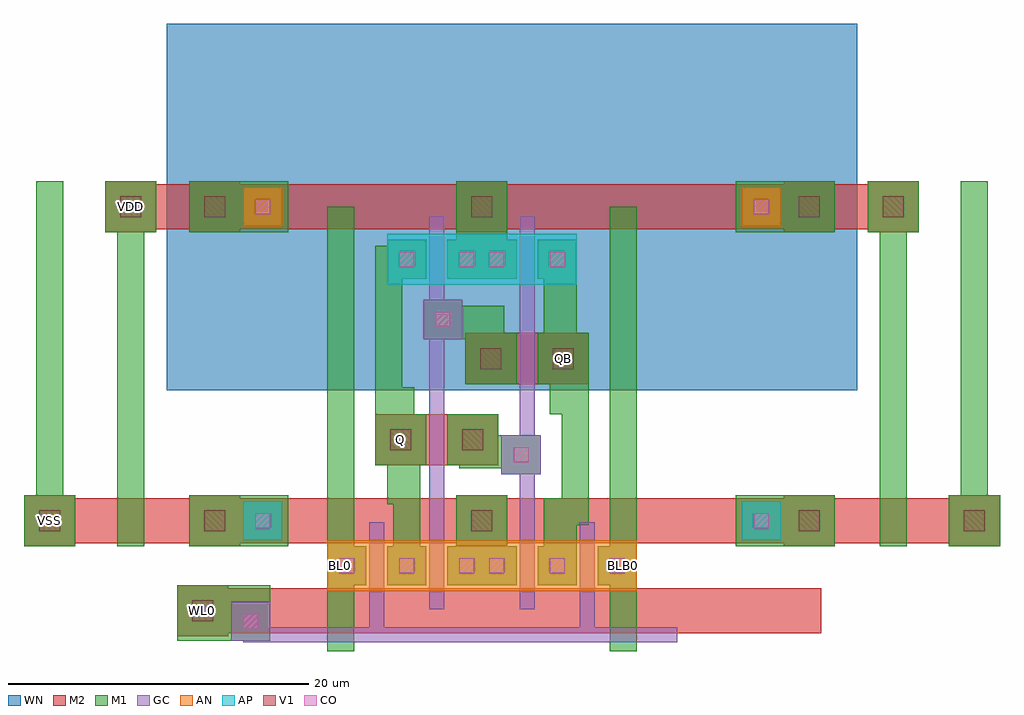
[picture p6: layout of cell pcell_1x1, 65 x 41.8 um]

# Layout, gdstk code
import gdstk
lib = gdstk.Library(unit=1e-6, precision=5e-08)
def R(c, l, rs):  # rectangles x0, y0, x1, y1
    for r in rs: c.add(gdstk.rectangle(r[:2], r[2:], *l))
AP = (3, 1)
AN = (3, 2)
GC = (8, 1)
CO = (11, 0)
M1 = (13, 0)
V1 = (19, 0)
M2 = (20, 0)
WN = (140, 0)

fet_n = lib.new_cell('fet_n')
R(fet_n, AN, [(-3.3,-1.7,3.3,1.7)])
R(fet_n, CO, [(-2.5,-0.5,-1.5,0.5), (1.5,-0.5,2.5,0.5)])
R(fet_n, M1, [(-3.3,-1.3,-0.7,1.3), (0.7,-1.3,3.3,1.3)])
fet_n.add(gdstk.FlexPath([(0,-2.9),(0,2.9)], 1, ends="flush", simple_path=True, layer=8, datatype=1))  # GC

fet_p = lib.new_cell('fet_p')
R(fet_p, AP, [(-3.3,-1.7,3.3,1.7)])
R(fet_p, CO, [(-2.5,-0.5,-1.5,0.5), (1.5,-0.5,2.5,0.5)])
R(fet_p, M1, [(-3.3,-1.3,-0.7,1.3), (0.7,-1.3,3.3,1.3)])
fet_p.add(gdstk.FlexPath([(0,-2.9),(0,2.9)], 1, ends="flush", simple_path=True, layer=8, datatype=1))  # GC

via_1 = lib.new_cell('via_1')
R(via_1, M1, [(-1.7,-1.7,1.7,1.7)])
R(via_1, V1, [(-0.7,-0.7,0.7,0.7)])
R(via_1, M2, [(-1.7,-1.7,1.7,1.7)])

cont_g = lib.new_cell('cont_g')
R(cont_g, GC, [(-1.3,-1.3,1.3,1.3)])
R(cont_g, CO, [(-0.5,-0.5,0.5,0.5)])
R(cont_g, M1, [(-1.3,-1.3,1.3,1.3)])

pcell_core = lib.new_cell('pcell_core')
R(pcell_core, GC, [(0,-5.1,22,-4.1), (1.5,-5.1,2.5,-2.4), (15.5,-5.1,16.5,-2.4), (5.5,2.4,6.5,18), (11.5,2.4,12.5,18), (11.1,6.9,12.5,7.9), (5.5,15.9,6.9,16.9)])
R(pcell_core, M1, [(-1.3,-5.7,0.5,23.9), (17.5,-5.7,19.3,23.9), (3.1,-0.9,4.9,5.9), (8.1,-0.9,9.9,3.9), (13.1,-0.9,14.9,4.5), (14.9,1.3,15.3,2.7), (13.1,2.7,16.1,4.5), (14.3,2.7,16.1,11.9), (2.7,4.1,4.9,5.9), (2.7,4.1,4.5,11.9), (4.5,5.9,4.9,6.7), (7.5,6.5,9.3,9.3), (7.5,6.5,12.5,8.3), (10.1,8.3,10.3,8.7), (1.9,10.1,4.5,11.9), (1.9,10.1,3.7,21.3), (13.5,10.1,16.1,11.9), (13.5,10.1,15.3,18.7), (15.3,11.9,16.1,12.1), (8.7,12.9,10.5,17.3), (7.7,15.1,7.9,15.5), (5.5,15.5,10.5,17.3), (13.1,15.5,13.5,16.9), (13.1,16.9,15.3,18.7), (13.1,16.9,14.9,21.3), (14.9,18.7,15.3,19.1), (1.9,19.5,4.9,21.3), (8.1,19.5,9.9,24.8), (7.3,21.7,8.1,22.2), (9.9,21.7,10.7,22.2)])
R(pcell_core, M2, [(0,-4.5,22,-1.5), (0,1.5,22,4.5), (1.9,6.7,10.1,10.1), (7.9,12.1,16.1,15.5), (0,22.4,22,25.4)])
R(pcell_core, WN, [(-3.5,11.7,25.5,29.1)])
pcell_core.add(gdstk.Reference(fet_n, (2,0)))
pcell_core.add(gdstk.Reference(fet_n, (6,0)))
pcell_core.add(gdstk.Reference(fet_n, (12,0)))
pcell_core.add(gdstk.Reference(fet_n, (16,0)))
pcell_core.add(gdstk.Reference(fet_p, (6,20.4)))
pcell_core.add(gdstk.Reference(fet_p, (12,20.4)))
pcell_core.add(gdstk.Reference(via_1, (9,3)))
pcell_core.add(gdstk.Reference(via_1, (9,23.9)))
pcell_core.add(gdstk.Reference(via_1, (3.6,8.4)))
pcell_core.add(gdstk.Reference(via_1, (8.4,8.4)))
pcell_core.add(gdstk.Reference(cont_g, (11.6,7.4)))
pcell_core.add(gdstk.Reference(via_1, (14.4,13.8)))
pcell_core.add(gdstk.Reference(via_1, (9.6,13.8)))
pcell_core.add(gdstk.Reference(cont_g, (6.4,16.4)))

cont_n = lib.new_cell('cont_n')
R(cont_n, AN, [(-1.3,-1.3,1.3,1.3)])
R(cont_n, CO, [(-0.5,-0.5,0.5,0.5)])
R(cont_n, M1, [(-1.3,-1.3,1.3,1.3)])

cont_p = lib.new_cell('cont_p')
R(cont_p, AP, [(-1.3,-1.3,1.3,1.3)])
R(cont_p, CO, [(-0.5,-0.5,0.5,0.5)])
R(cont_p, M1, [(-1.3,-1.3,1.3,1.3)])

pcell_1x1 = lib.new_cell('pcell_1x1')
R(pcell_1x1, GC, [(-6.9,0.6,-5.9,2.5), (-6.4,0.6,0,1.6)])
R(pcell_1x1, M1, [(-11.3,0.7,-5.1,4.4), (-20.7,7,-18.9,31.3), (-15.3,7,-13.5,31.3), (-10.5,7,-3.9,10.4), (25.9,7,32.5,10.4), (35.5,7,37.3,31.3), (40.9,7,42.7,31.3), (-10.5,27.9,-3.9,31.3), (25.9,27.9,32.5,31.3)])
R(pcell_1x1, M2, [(-9.6,1.2,31.6,4.2), (-21.5,7.2,23.7,10.2), (-1.7,7.2,43.5,10.2), (-16.1,28.1,23.7,31.1), (-1.7,28.1,38.1,31.1)])
R(pcell_1x1, WN, [(-12,17.4,34,41.8), (0,17.4,34,41.8)])
pcell_1x1.add(gdstk.Reference(pcell_core, (0,5.7)))
pcell_1x1.add(gdstk.Reference(cont_g, (-6.4,2)))
pcell_1x1.add(gdstk.Reference(via_1, (-9.6,2.7)))
pcell_1x1.add(gdstk.Reference(cont_n, (-5.6,29.6)))
pcell_1x1.add(gdstk.Reference(via_1, (-8.8,29.6)))
pcell_1x1.add(gdstk.Reference(via_1, (-14.4,29.6)))
pcell_1x1.add(gdstk.Reference(cont_p, (-5.6,8.7)))
pcell_1x1.add(gdstk.Reference(via_1, (-8.8,8.7)))
pcell_1x1.add(gdstk.Reference(via_1, (-19.8,8.7)))
pcell_1x1.add(gdstk.Reference(cont_n, (27.6,29.6)))
pcell_1x1.add(gdstk.Reference(via_1, (30.8,29.6)))
pcell_1x1.add(gdstk.Reference(via_1, (36.4,29.6)))
pcell_1x1.add(gdstk.Reference(cont_p, (27.6,8.7)))
pcell_1x1.add(gdstk.Reference(via_1, (30.8,8.7)))
pcell_1x1.add(gdstk.Reference(via_1, (41.8,8.7)))
pcell_1x1.add(gdstk.Label('WL0', (-9.6,2.7), layer=49, texttype=0))
pcell_1x1.add(gdstk.Label('VDD', (-14.4,29.6), layer=48, texttype=0))
pcell_1x1.add(gdstk.Label('VSS', (-19.8,8.7), layer=48, texttype=0))
pcell_1x1.add(gdstk.Label('BL0', (-0.4,5.7), layer=48, texttype=0))
pcell_1x1.add(gdstk.Label('BLB0', (18.4,5.7), layer=48, texttype=0))
pcell_1x1.add(gdstk.Label('Q', (3.6,14.1), layer=48, texttype=0))
pcell_1x1.add(gdstk.Label('QB', (14.4,19.5), layer=48, texttype=0))

lib.write_gds('pcell_1x1.gds')
